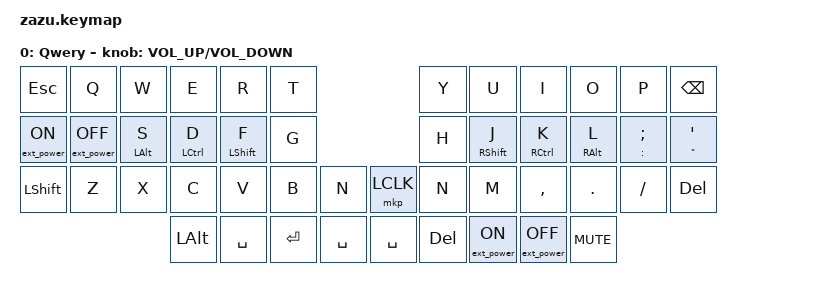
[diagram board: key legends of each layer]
/*
 * Copyright (c) 2021 The ZMK Contributors
 *
 * SPDX-License-Identifier: MIT
 */

#include <behaviors/mouse_keys.dtsi>
#include <behaviors.dtsi>
#include <dt-bindings/zmk/bt.h>
#include <dt-bindings/zmk/keys.h>
#include <dt-bindings/zmk/mouse.h>
#include <dt-bindings/zmk/ext_power.h>
#include <dt-bindings/zmk/rgb.h>

/ {
    combos {
        compatible = "zmk,combos";

        combo_esc {
            timeout-ms = <50>;
            key-positions = <0 1>;
            bindings = <&kp ESC>;
        };

        left_bkt {
            bindings = <&kp LEFT_BRACKET>;
            key-positions = <3 4>;
        };

        right_bkt {
            bindings = <&kp RIGHT_BRACKET>;
            key-positions = <7 8>;
        };

        left_brace {
            bindings = <&kp LEFT_BRACE>;
            key-positions = <26 27>;
        };

        right_brace {
            bindings = <&kp RIGHT_BRACE>;
            key-positions = <30 31>;
        };

        less_than {
            bindings = <&kp LESS_THAN>;
            key-positions = <15 16>;
        };

        great_than {
            bindings = <&kp GREATER_THAN>;
            key-positions = <19 20>;
        };

        pipe {
            bindings = <&kp PIPE>;
            key-positions = <15 20>;
        };

        back_slash {
            bindings = <&kp BACKSLASH>;
            key-positions = <3 8>;
        };
    };

    behaviors {
        hm: homerow_mods {
            compatible = "zmk,behavior-hold-tap";
            label = "HOMEROW_MODS";
            bindings = <&kp>, <&kp>;

            #binding-cells = <2>;
            tapping-term-ms = <200>;
            quick-tap-ms = <180>;
            flavor = "tap-preferred";
        };

        ltq: ltq {
            compatible = "zmk,behavior-hold-tap";
            label = "LTQ";
            bindings = <&mo>, <&kp>;

            #binding-cells = <2>;
            tapping-term-ms = <200>;
            quick-tap-ms = <180>;
        };

        as: auto_shift {
            compatible = "zmk,behavior-hold-tap";
            label = "AUTO_SHIFT";
            bindings = <&kp>, <&kp>;

            #binding-cells = <2>;
            tapping-term-ms = <135>;
            quick-tap-ms = <0>;
        };
    };

    keymap {
        compatible = "zmk,keymap";

        Qwery {
            bindings = <
&kp ESCAPE       &kp Q           &kp W           &kp E               &kp R             &kp T                                                &kp Y          &kp U                &kp I                    &kp O               &kp P                &kp BSPC
&ext_power EP_ON &ext_power EP_OFF  &hm LEFT_ALT S  &hm LEFT_CONTROL D  &hm LEFT_SHIFT F  &kp G                                                &kp H          &hm RIGHT_SHIFT J    &hm RIGHT_CONTROL K      &hm RIGHT_ALT L     &as COLON SEMICOLON  &as DOUBLE_QUOTES SINGLE_QUOTE
&kp LEFT_SHIFT   &kp Z           &kp X           &kp C               &kp V             &kp B             &kp N            &mkp LCLK         &kp N          &kp M                &kp COMMA                &kp PERIOD          &kp SLASH            &kp DELETE
                                                 &kp LEFT_ALT        &kp SPACE         &kp ENTER         &kp SPACE        &kp SPACE         &kp DELETE     &ext_power EP_ON     &ext_power EP_OFF        &kp C_MUTE
            >;

            sensor-bindings = <&inc_dec_kp C_VOLUME_UP C_VOLUME_DOWN>;
            label = "Qwery";
        };

    };
};
